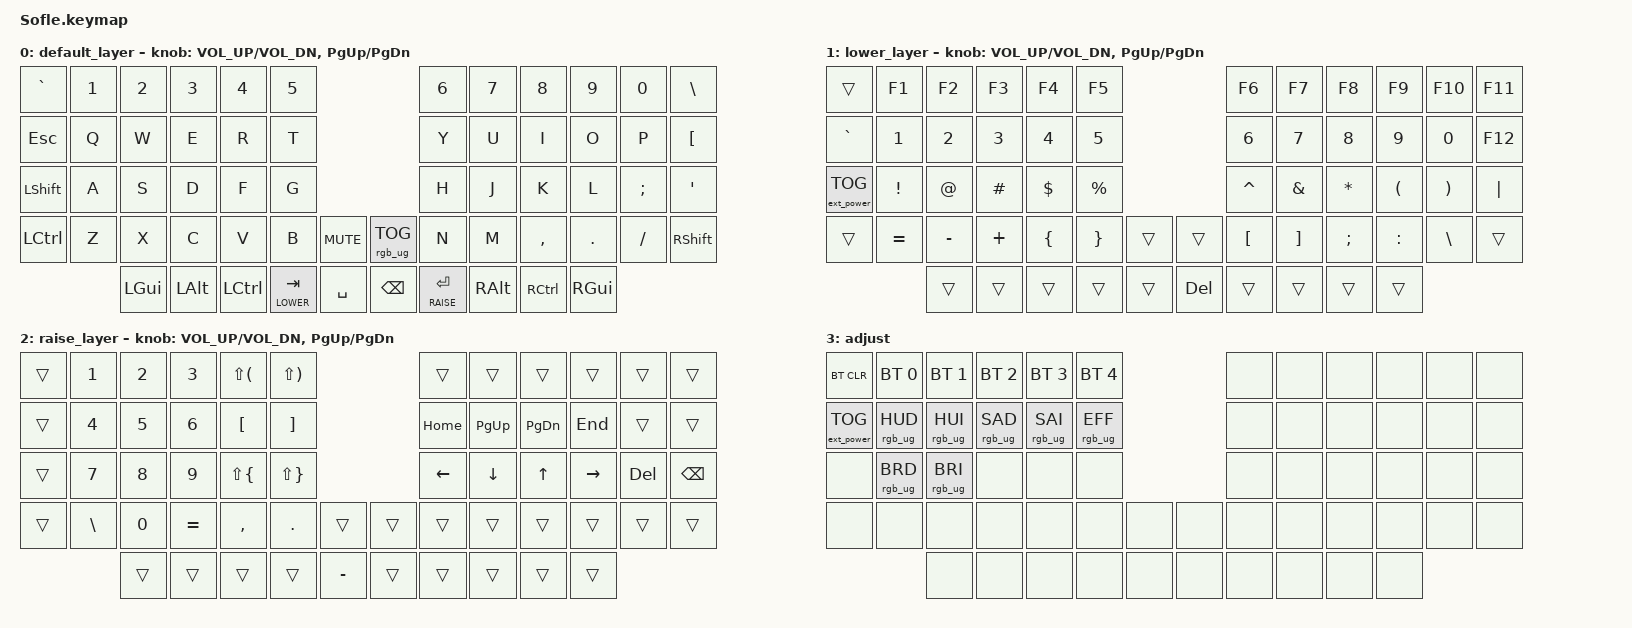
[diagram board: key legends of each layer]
/*
 * Copyright (c) 2020 The ZMK Contributors
 *
 * SPDX-License-Identifier: MIT
 */

#include <behaviors.dtsi>
#include <dt-bindings/zmk/bt.h>
#include <dt-bindings/zmk/ext_power.h>
#include <dt-bindings/zmk/keys.h>
#include <dt-bindings/zmk/rgb.h>

#define BASE 0
#define LOWER 1
#define RAISE 2
#define ADJUST 3

/ {
    // Activate ADJUST layer by pressing raise and lower

    conditional_layers {
        compatible = "zmk,conditional-layers";

        adjust_layer {
            if-layers = <LOWER RAISE>;
            then-layer = <ADJUST>;
        };
    };

    keymap {
        compatible = "zmk,keymap";

        default_layer {
            // ------------------------------------------------------------------------------------------------------------
            // |   `   |  1  |  2  |  3   |  4   |  5   |                   |  6   |  7    |  8    |  9   |   0   |       |
            // |  ESC  |  Q  |  W  |  E   |  R   |  T   |                   |  Y   |  U    |  I    |  O   |   P   | BKSPC |
            // |  TAB  |  A  |  S  |  D   |  F   |  G   |                   |  H   |  J    |  K    |  L   |   ;   |   '   |
            // | SHIFT |  Z  |  X  |  C   |  V   |  B   |  MUTE  |  |       |  N   |  M    |  ,    |  .   |   /   | SHIFT |
            //               | GUI | ALT  | CTRL | LOWER|  ENTER |  | SPACE | RAISE| CTRL  | ALT   | GUI  |

            bindings = <
&kp GRAVE         &kp N1  &kp N2    &kp N3    &kp N4     &kp N5                                        &kp N6           &kp N7         &kp N8     &kp N9    &kp N0    &kp BSLH
&kp ESC           &kp Q   &kp W     &kp E     &kp R      &kp T                                         &kp Y            &kp U          &kp I      &kp O     &kp P     &kp LEFT_BRACKET
&kp LEFT_SHIFT    &kp A   &kp S     &kp D     &kp F      &kp G                                         &kp H            &kp J          &kp K      &kp L     &kp SEMI  &kp SQT
&kp LEFT_CONTROL  &kp Z   &kp X     &kp C     &kp V      &kp B          &kp C_MUTE    &rgb_ug RGB_TOG  &kp N            &kp M          &kp COMMA  &kp DOT   &kp FSLH  &kp RSHFT
                          &kp LGUI  &kp LALT  &kp LCTRL  &lt LOWER TAB  &kp SPACE     &kp BACKSPACE    &lt RAISE ENTER  &kp RIGHT_ALT  &kp RCTRL  &kp RGUI
            >;

            sensor-bindings = <&inc_dec_kp C_VOL_UP C_VOL_DN &inc_dec_kp PG_UP PG_DN>;
        };

        lower_layer {
            // TODO: Some binds are waiting for shifted keycode support.
            // ------------------------------------------------------------------------------------------------------------
            // |       |  F1 |  F2 |  F3  |  F4  |  F5  |                   |  F6  |  F7   |  F8   |  F9  |  F10  |  F11  |
            // |   `   |  1  |  2  |  3   |  4   |  5   |                   |  6   |  7    |  8    |  9   |   0   |  F12  |
            // |       |  !  |  @  |  #   |  $   |  %   |                   |  ^   |  &    |  *    |  (   |   )   |   |   |
            // |       |  =  |  -  |  +   |  {   |  }   |        |  |       |  [   |  ]    |  ;    |  :   |   \   |       |
            //               |     |      |      |      |        |  |       |      |       |       |      |

            bindings = <
&trans             &kp F1     &kp F2     &kp F3    &kp F4    &kp F5                           &kp F6     &kp F7    &kp F8     &kp F9     &kp F10   &kp F11
&kp GRAVE          &kp N1     &kp N2     &kp N3    &kp N4    &kp N5                           &kp N6     &kp N7    &kp N8     &kp N9     &kp N0    &kp F12
&ext_power EP_TOG  &kp EXCL   &kp AT     &kp HASH  &kp DLLR  &kp PRCNT                        &kp CARET  &kp AMPS  &kp ASTRK  &kp LPAR   &kp RPAR  &kp PIPE
&trans             &kp EQUAL  &kp MINUS  &kp PLUS  &kp LBRC  &kp RBRC   &trans    &trans      &kp LBKT   &kp RBKT  &kp SEMI   &kp COLON  &kp BSLH  &trans
                              &trans     &trans    &trans    &trans     &trans    &kp DELETE  &trans     &trans    &trans     &trans
            >;

            sensor-bindings = <&inc_dec_kp C_VOL_UP C_VOL_DN &inc_dec_kp PG_UP PG_DN>;
        };

        raise_layer {
            // ------------------------------------------------------------------------------------------------------------
            // | BTCLR | BT1  | BT2  |  BT3  |  BT4  |  BT5 |                |      |      |       |      |       |       |
            // |       | INS  | PSCR | GUI   |       |      |                | PGUP |      |   ^   |      |       |       |
            // |       | ALT  | CTRL | SHIFT |       | CAPS |                | PGDN |   <- |   v   |  ->  |  DEL  | BKSPC |
            // |       | UNDO | CUT  | COPY  | PASTE |      |      |  |      |      |      |       |      |       |       |
            //                |      |       |       |      |      |  |      |      |      |       |      |

            bindings = <
&trans  &kp N1    &kp N2  &kp N3     &kp LS(LPAR)  &kp LS(RPAR)                       &trans    &trans     &trans     &trans     &trans   &trans
&trans  &kp N4    &kp N5  &kp N6     &kp LBKT      &kp RBKT                           &kp HOME  &kp PG_UP  &kp PG_DN  &kp END    &trans   &trans
&trans  &kp N7    &kp N8  &kp N9     &kp LS(LBRC)  &kp LS(RBRC)                       &kp LEFT  &kp DOWN   &kp UP     &kp RIGHT  &kp DEL  &kp BSPC
&trans  &kp BSLH  &kp N0  &kp EQUAL  &kp COMMA     &kp DOT       &trans       &trans  &trans    &trans     &trans     &trans     &trans   &trans
                  &trans  &trans     &trans        &trans        &kp MINUS    &trans  &trans    &trans     &trans     &trans
            >;

            sensor-bindings = <&inc_dec_kp C_VOL_UP C_VOL_DN &inc_dec_kp PG_UP PG_DN>;
        };

        adjust_layer {
            // ----------------------------------------------------------------------------------------------------------------------------
            // | BTCLR  |  BT1    |  BT2    |   BT3   |   BT4   |   BT5   |                  |      |      |       |      |       |       |
            // | EXTPWR | RGB_HUD | RGB_HUI | RGB_SAD | RGB_SAI | RGB_EFF |                  |      |      |       |      |       |       |
            // |        | RGB_BRD | RGB_BRI |         |         |         |                  |      |      |       |      |       |       |
            // |        |         |         |         |         |         | RGB_TOG | |      |      |      |       |      |       |       |
            //                    |         |         |         |         |         | |      |      |      |       |      |

            display-name = "adjust";
            bindings = <
&bt BT_CLR         &bt BT_SEL 0     &bt BT_SEL 1     &bt BT_SEL 2     &bt BT_SEL 3     &bt BT_SEL 4                     &none  &none  &none  &none  &none  &none
&ext_power EP_TOG  &rgb_ug RGB_HUD  &rgb_ug RGB_HUI  &rgb_ug RGB_SAD  &rgb_ug RGB_SAI  &rgb_ug RGB_EFF                  &none  &none  &none  &none  &none  &none
&none              &rgb_ug RGB_BRD  &rgb_ug RGB_BRI  &none            &none            &none                            &none  &none  &none  &none  &none  &none
&none              &none            &none            &none            &none            &none            &none    &none  &none  &none  &none  &none  &none  &none
                                    &none            &none            &none            &none            &none    &none  &none  &none  &none  &none
            >;
        };

        extra1 { status = "reserved"; };

        extra2 { status = "reserved"; };

        extra3 { status = "reserved"; };

        extra4 { status = "reserved"; };
    };
};
